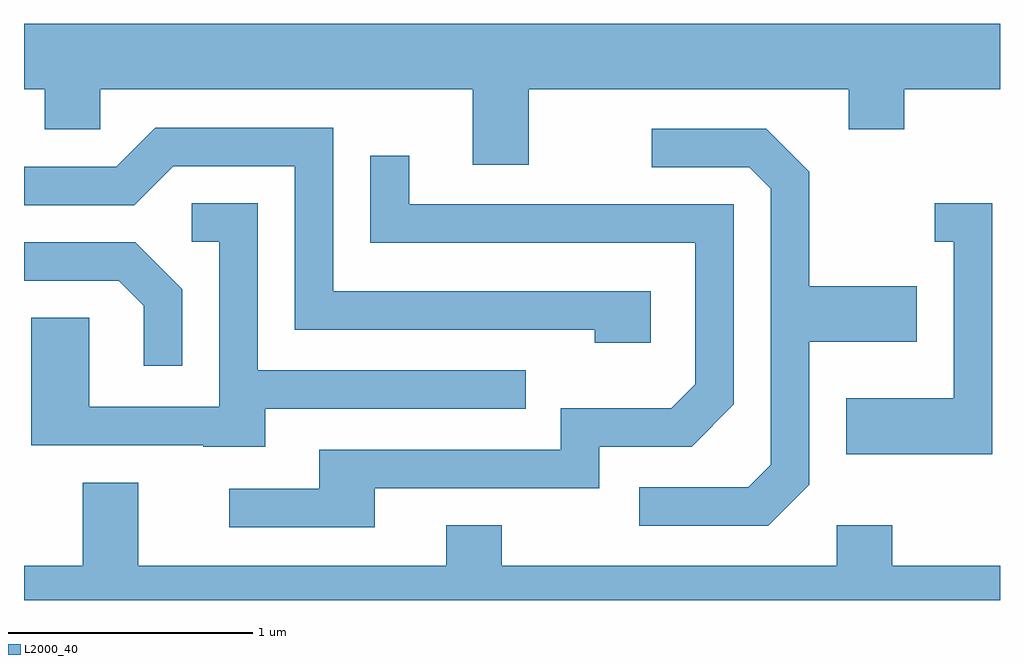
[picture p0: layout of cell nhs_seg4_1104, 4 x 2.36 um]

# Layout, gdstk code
import gdstk
lib = gdstk.Library(unit=1e-6, precision=1e-09)
def P(c, l, *ps):  # polygons
    for p in ps: c.add(gdstk.Polygon(p, *l))
L2000_40 = (2000, 40)

nhs_seg4_1104 = lib.new_cell('nhs_seg4_1104')
P(nhs_seg4_1104, L2000_40, [(219.679,1288.076),(220.991,1288.076),(220.991,1287.911),(221.219,1287.911),(221.219,1288.076),(221.611,1288.076),(221.611,1288.344),(217.611,1288.344),(217.611,1288.076),(217.696,1288.076),(217.696,1287.911),(217.924,1287.911),(217.924,1288.076),(219.451,1288.076),(219.451,1287.766),(219.679,1287.766)],
  [(220.179,1287.249),(218.879,1287.249),(218.879,1287.919),(218.149,1287.919),(217.989,1287.759),(217.611,1287.759),(217.611,1287.601),(218.062,1287.601),(218.222,1287.761),(218.721,1287.761),(218.721,1287.091),(219.951,1287.091),(219.951,1287.036),(220.179,1287.036)],
  [(220.829,1286.454),(220.829,1287.041),(221.269,1287.041),(221.269,1287.269),(220.829,1287.269),(220.829,1287.737),(220.652,1287.914),(220.183,1287.914),(220.183,1287.756),(220.584,1287.756),(220.671,1287.669),(220.671,1286.537),(220.579,1286.444),(220.133,1286.444),(220.133,1286.286),(220.662,1286.286)],
  [(219.049,1286.441),(219.969,1286.441),(219.969,1286.611),(220.347,1286.611),(220.519,1286.784),(220.519,1287.604),(219.189,1287.604),(219.189,1287.803),(219.031,1287.803),(219.031,1287.446),(220.361,1287.446),(220.361,1286.867),(220.264,1286.769),(219.811,1286.769),(219.811,1286.599),(218.821,1286.599),(218.821,1286.439),(218.453,1286.439),(218.453,1286.281),(219.049,1286.281)],
  [(218.599,1286.766),(219.668,1286.766),(219.668,1286.924),(218.569,1286.924),(218.569,1287.609),(218.298,1287.609),(218.298,1287.451),(218.411,1287.451),(218.411,1286.774),(217.879,1286.774),(217.879,1287.139),(217.641,1287.139),(217.641,1286.616),(218.345,1286.616),(218.345,1286.611),(218.599,1286.611)],
  [(221.579,1287.609),(221.343,1287.609),(221.343,1287.451),(221.421,1287.451),(221.421,1286.809),(220.981,1286.809),(220.981,1286.581),(221.579,1286.581)],
  [(218.259,1287.257),(218.067,1287.449),(217.611,1287.449),(217.611,1287.291),(217.999,1287.291),(218.101,1287.189),(218.101,1286.943),(218.259,1286.943)],
  [(221.611,1286.124),(221.169,1286.124),(221.169,1286.289),(220.941,1286.289),(220.941,1286.124),(219.569,1286.124),(219.569,1286.289),(219.341,1286.289),(219.341,1286.124),(218.079,1286.124),(218.079,1286.464),(217.851,1286.464),(217.851,1286.124),(217.611,1286.124),(217.611,1285.982),(221.611,1285.982)])

lib.write_gds('nhs_seg4_1104.gds')
